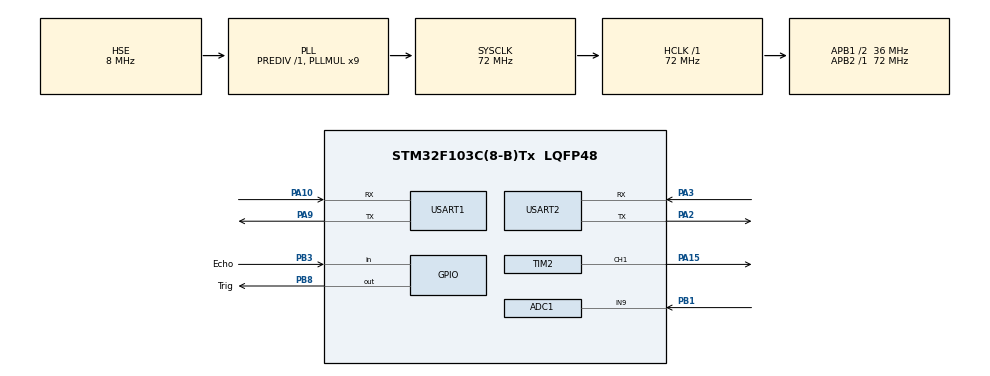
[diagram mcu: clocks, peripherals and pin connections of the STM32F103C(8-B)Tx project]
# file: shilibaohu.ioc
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ADC1.Channel-0\#ChannelRegularConversion=ADC_CHANNEL_9
ADC1.NbrOfConversionFlag=1
ADC1.Rank-0\#ChannelRegularConversion=1
ADC1.SamplingTime-0\#ChannelRegularConversion=ADC_SAMPLETIME_1CYCLE_5
ADC1.master=1
Mcu.Family=STM32F1
Mcu.Name=STM32F103C(8-B)Tx
Mcu.Package=LQFP48
NVIC.PriorityGroup=NVIC_PRIORITYGROUP_4
NVIC.TIM2_IRQn=true\:1\:0\:true\:false\:true\:true\:true\:true
NVIC.USART1_IRQn=true\:0\:0\:false\:false\:true\:true\:true\:true
PA10.Mode=Asynchronous
PA10.Signal=USART1_RX
PA13.Mode=Serial_Wire
PA13.Signal=SYS_JTMS-SWDIO
PA14.Mode=Serial_Wire
PA14.Signal=SYS_JTCK-SWCLK
PA15.Signal=S_TIM2_CH1_ETR
PA2.Mode=Asynchronous
PA2.Signal=USART2_TX
PA3.Mode=Asynchronous
PA3.Signal=USART2_RX
PA9.Mode=Asynchronous
PA9.Signal=USART1_TX
PB1.Signal=ADCx_IN9
PB3.GPIO_Label=Echo
PB3.Signal=GPIO_Input
PB8.GPIO_Label=Trig
PB8.GPIO_ModeDefaultOutputPP=GPIO_MODE_OUTPUT_PP
PB8.GPIO_PuPd=GPIO_PULLUP
PB8.GPIO_Speed=GPIO_SPEED_FREQ_HIGH
PB8.PinState=GPIO_PIN_SET
PB8.Signal=GPIO_Output
PD0-OSC_IN.Mode=HSE-External-Oscillator
PD0-OSC_IN.Signal=RCC_OSC_IN
PD1-OSC_OUT.Mode=HSE-External-Oscillator
PD1-OSC_OUT.Signal=RCC_OSC_OUT
ProjectManager.HeapSize=0x200
ProjectManager.StackSize=0x400
ProjectManager.TargetToolchain=MDK-ARM V5.32
RCC.ADCPresc=RCC_ADCPCLK2_DIV6
RCC.AHBFreq_Value=72000000
RCC.APB1CLKDivider=RCC_HCLK_DIV2
RCC.APB1Freq_Value=36000000
RCC.APB1TimFreq_Value=72000000
RCC.APB2Freq_Value=72000000
RCC.APB2TimFreq_Value=72000000
RCC.HCLKFreq_Value=72000000
RCC.PLLMUL=RCC_PLL_MUL9
RCC.PLLSourceVirtual=RCC_PLLSOURCE_HSE
RCC.SYSCLKFreq_VALUE=72000000
RCC.SYSCLKSource=RCC_SYSCLKSOURCE_PLLCLK
RCC.USBFreq_Value=72000000
SH.ADCx_IN9.0=ADC1_IN9,IN9
SH.S_TIM2_CH1_ETR.0=TIM2_CH1,PWM Generation1 CH1
TIM2.AutoReloadPreload=TIM_AUTORELOAD_PRELOAD_ENABLE
TIM2.Channel-PWM\ Generation1\ CH1=TIM_CHANNEL_1
TIM2.Period=65535
TIM2.Prescaler=71
USART1.VirtualMode=VM_ASYNC
USART2.VirtualMode=VM_ASYNC
VP_TIM2_VS_ClockSourceINT.Mode=Internal
board=custom

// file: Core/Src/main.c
/* USER CODE BEGIN Header */
/**
  ******************************************************************************
  * @file           : main.c
  * @brief          : Main program body
  ******************************************************************************
  * @attention
  *
  * Copyright (c) 2026 STMicroelectronics.
  * All rights reserved.
  *
  * This software is licensed under terms that can be found in the LICENSE file
  * in the root directory of this software component.
  * If no LICENSE file comes with this software, it is provided AS-IS.
  *
  ******************************************************************************
  */
/* USER CODE END Header */
#include "main.h"
#include "adc.h"
#include "tim.h"
#include "usart.h"
#include "gpio.h"

/* USER CODE BEGIN Includes */
#include <string.h>
#include <stdio.h>
/* USER CODE END Includes */

/* USER CODE BEGIN PV */
volatile uint8_t led_auto_control = 1;  // 1=自动控制，0=手动控制
volatile uint32_t led_off_timer = 0;    // 用于led:off后的2秒计时
uint8_t distance_threshold = 5;         // 距离检测阈值，默认5cm
/* USER CODE END PV */

void SystemClock_Config(void);

/* USER CODE BEGIN 0 */
// Flash配置 - STM32F103xB最后1页用于存储数据
#define FLASH_USER_START_ADDR   0x0801F800  // 最后1页起始地址
#define FLASH_USER_END_ADDR     0x0801FFFF  // 最后1页结束地址
#define FLASH_DATA_MAGIC        0x12345678  // 数据有效标志

// Flash数据结构
typedef struct {
  uint32_t magic;           // 数据有效标志
  uint8_t distance_thresh;  // 距离阈值
  uint8_t reserved[3];      // 保留字节
} FlashData_t;

void HAL_DelayUs(uint32_t us)
{
  uint32_t start = SysTick->VAL;
  uint32_t ticks = us * (SystemCoreClock / 1000000);
  uint32_t elapsed = 0;

  while (elapsed < ticks) {
    uint32_t current = SysTick->VAL;
    if (current <= start) {
      elapsed = start - current;
    } else {
      elapsed = start + (SysTick->LOAD - current);
    }
  }
}

// ADC读取函数
uint16_t ADC_Read(void)
{
  HAL_ADC_Start(&hadc1);
  if (HAL_ADC_PollForConversion(&hadc1, 10) == HAL_OK) {
    return HAL_ADC_GetValue(&hadc1);
  }
  return 0;
}

// 从Flash读取数据
void Flash_ReadData(FlashData_t *data)
{
  FlashData_t *flash_ptr = (FlashData_t *)FLASH_USER_START_ADDR;
  *data = *flash_ptr;
}

// 写入数据到Flash
void Flash_WriteData(FlashData_t *data)
{
  HAL_FLASH_Unlock();

  FLASH_EraseInitTypeDef erase_init;
  uint32_t page_error = 0;

  erase_init.TypeErase = FLASH_TYPEERASE_PAGES;
  erase_init.PageAddress = FLASH_USER_START_ADDR;
  erase_init.NbPages = 1;

  if (HAL_FLASHEx_Erase(&erase_init, &page_error) == HAL_OK) {
    uint32_t *src_ptr = (uint32_t *)data;
    uint32_t *dst_ptr = (uint32_t *)FLASH_USER_START_ADDR;

    for (uint8_t i = 0; i < sizeof(FlashData_t) / 4; i++) {
      HAL_FLASH_Program(FLASH_TYPEPROGRAM_WORD, (uint32_t)(dst_ptr + i), src_ptr[i]);
    }
  }

  HAL_FLASH_Lock();
}

// 初始化距离阈值，从Flash读取或使用默认值
void DistanceThreshold_Init(void)
{
  FlashData_t flash_data;
  Flash_ReadData(&flash_data);

  if (flash_data.magic == FLASH_DATA_MAGIC &&
      flash_data.distance_thresh >= 0 &&
      flash_data.distance_thresh <= 20) {
    distance_threshold = flash_data.distance_thresh;
  } else {
    // Flash数据无效，使用默认值并保存
    distance_threshold = 5;
    FlashData_t new_data;
    new_data.magic = FLASH_DATA_MAGIC;
    new_data.distance_thresh = distance_threshold;
    new_data.reserved[0] = 0;
    new_data.reserved[1] = 0;
    new_data.reserved[2] = 0;
    Flash_WriteData(&new_data);
  }
}

// 设置距离阈值并保存到Flash
void DistanceThreshold_Set(uint8_t new_thresh)
{
  if (new_thresh >= 0 && new_thresh <= 20) {
    distance_threshold = new_thresh;

    FlashData_t new_data;
    new_data.magic = FLASH_DATA_MAGIC;
    new_data.distance_thresh = distance_threshold;
    new_data.reserved[0] = 0;
    new_data.reserved[1] = 0;
    new_data.reserved[2] = 0;
    Flash_WriteData(&new_data);
  }
}

// 手动控制LED打开（最亮）
void LED_ManualOn(void)
{
  led_auto_control = 0;
  PWM_SetDutyCycle(0);  // 最亮
}

// 手动控制LED关闭（最暗），2秒后恢复自动控制
void LED_ManualOff(void)
{
  led_auto_control = 0;
  PWM_SetDutyCycle(65535);  // 最暗
  led_off_timer = HAL_GetTick();  // 记录当前时间
}
/* USER CODE END 0 */

int main(void)
{

  /* MCU Configuration--------------------------------------------------------*/

  /* Reset of all peripherals, Initializes the Flash interface and the Systick. */
  HAL_Init();

  /* Configure the system clock */
  SystemClock_Config();

  /* Initialize all configured peripherals */
  MX_GPIO_Init();
  MX_ADC1_Init();
  MX_TIM2_Init();
  MX_USART2_UART_Init();
  MX_USART1_UART_Init();
  /* USER CODE BEGIN 2 */
  HAL_TIM_PWM_Start(&htim2, TIM_CHANNEL_1); // 启动PWM
  DistanceThreshold_Init();  // 初始化距离阈值（从Flash读取）
  USART1_StartRx();  // 启动USART1中断接收
  /* USER CODE END 2 */

  /* Infinite loop */
  while (1)
  {

    /* USER CODE BEGIN 3 */
    // 处理USART1接收到的命令
    USART1_ProcessCommand();

    // 检查是否需要恢复自动控制（led:off后2秒）
    if (!led_auto_control && led_off_timer != 0) {
      if (HAL_GetTick() - led_off_timer >= 2000) {
        led_auto_control = 1;
        led_off_timer = 0;
      }
    }

    // 1. 读取光照值 (ADC范围0-4095)
    static uint8_t current_level = 0; // 当前档位 (0-4)
    static uint8_t alarm_sent = 0; // 距离报警标志
    static uint8_t dark_sent = 0;    // 光线过暗报警标志
    static uint8_t bright_sent = 0;  // 光线过亮报警标志
    uint16_t light_value = ADC_Read();

    // 只有在自动控制模式下才进行PWM自动调节
    if (led_auto_control) {
      // 2. 5个档位 + 滞回（Hysteresis）避免边界抖动
      // 每个档位有50的滞回区间
      switch (current_level) {
        case 0:
          if (light_value > 869) current_level = 1;
          break;
        case 1:
          if (light_value < 769) current_level = 0;
          else if (light_value > 1688) current_level = 2;
          break;
        case 2:
          if (light_value < 1588) current_level = 1;
          else if (light_value > 2507) current_level = 3;
          break;
        case 3:
          if (light_value < 2407) current_level = 2;
          else if (light_value > 3326) current_level = 4;
          break;
        case 4:
          if (light_value < 3226) current_level = 3;
          break;
      }

      // 3. 根据档位设置PWM (反转逻辑：暗->亮)
      uint16_t pwm_levels[5] = {65535, 49152, 32768, 16384, 0};
      PWM_SetDutyCycle(pwm_levels[current_level]);

      // 4. 光线报警（0档过暗，4档过亮）
      if (current_level == 0 && !dark_sent) {
        USART2_SendDark();
        dark_sent = 1;
        bright_sent = 0; // 清除其他标志
      } else if (current_level == 4 && !bright_sent) {
        USART2_SendBright();
        bright_sent = 1;
        dark_sent = 0; // 清除其他标志
      } else if (current_level > 0 && current_level < 4) {
        // 中间档位，清除两个标志
        dark_sent = 0;
        bright_sent = 0;
      }
    }

    // 5. 发送光照值
    USART1_SendLight(light_value);

    // 6. HC-SR04测距
    float distance = HCSR04_Measure();
    if (distance > 0) {
      USART1_SendDistance(distance);

      // 7. 距离低于阈值时，通过USART2发送报警
      if (distance < (float)distance_threshold && !alarm_sent) {
        USART2_SendWarning();
        alarm_sent = 1;
      }
      // 距离超过阈值时，清除报警标志
      else if (distance >= (float)distance_threshold) {
        alarm_sent = 0;
      }
    }

    HAL_Delay(3000);
  }
  /* USER CODE END 3 */
}

void SystemClock_Config(void)
{
  RCC_OscInitTypeDef RCC_OscInitStruct = {0};
  RCC_ClkInitTypeDef RCC_ClkInitStruct = {0};
  RCC_PeriphCLKInitTypeDef PeriphClkInit = {0};

  /** Initializes the RCC Oscillators according to the specified parameters
  * in the RCC_OscInitTypeDef structure.
  */
  RCC_OscInitStruct.OscillatorType = RCC_OSCILLATORTYPE_HSE;
  RCC_OscInitStruct.HSEState = RCC_HSE_ON;
  RCC_OscInitStruct.HSEPredivValue = RCC_HSE_PREDIV_DIV1;
  RCC_OscInitStruct.HSIState = RCC_HSI_ON;
  RCC_OscInitStruct.PLL.PLLState = RCC_PLL_ON;
  RCC_OscInitStruct.PLL.PLLSource = RCC_PLLSOURCE_HSE;
  RCC_OscInitStruct.PLL.PLLMUL = RCC_PLL_MUL9;
  if (HAL_RCC_OscConfig(&RCC_OscInitStruct) != HAL_OK)
  {
    Error_Handler();
  }

  /** Initializes the CPU, AHB and APB buses clocks
  */
  RCC_ClkInitStruct.ClockType = RCC_CLOCKTYPE_HCLK|RCC_CLOCKTYPE_SYSCLK
                              |RCC_CLOCKTYPE_PCLK1|RCC_CLOCKTYPE_PCLK2;
  RCC_ClkInitStruct.SYSCLKSource = RCC_SYSCLKSOURCE_PLLCLK;
  RCC_ClkInitStruct.AHBCLKDivider = RCC_SYSCLK_DIV1;
  RCC_ClkInitStruct.APB1CLKDivider = RCC_HCLK_DIV2;
  RCC_ClkInitStruct.APB2CLKDivider = RCC_HCLK_DIV1;

  if (HAL_RCC_ClockConfig(&RCC_ClkInitStruct, FLASH_LATENCY_2) != HAL_OK)
  {
    Error_Handler();
  }
  PeriphClkInit.PeriphClockSelection = RCC_PERIPHCLK_ADC;
  PeriphClkInit.AdcClockSelection = RCC_ADCPCLK2_DIV6;
  if (HAL_RCCEx_PeriphCLKConfig(&PeriphClkInit) != HAL_OK)
  {
    Error_Handler();
  }
}

void Error_Handler(void)
{
  __disable_irq();
  while (1)
  {
  }
}
